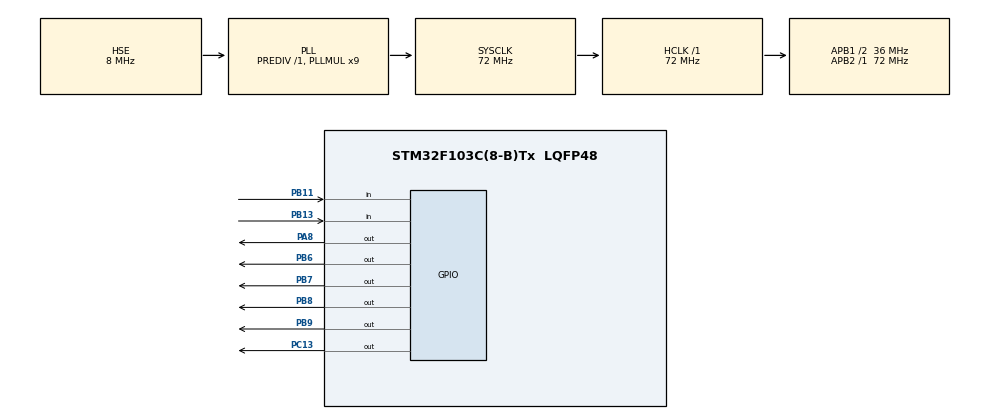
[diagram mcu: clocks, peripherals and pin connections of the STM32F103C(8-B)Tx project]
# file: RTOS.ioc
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FREERTOS.Tasks01=defaultTask,24,128,StartDefaultTask,Default,NULL,Dynamic,NULL,NULL
Mcu.Family=STM32F1
Mcu.Name=STM32F103C(8-B)Tx
Mcu.Package=LQFP48
NVIC.PriorityGroup=NVIC_PRIORITYGROUP_4
NVIC.TIM4_IRQn=true\:15\:0\:false\:false\:true\:false\:false\:true\:true
NVIC.TimeBase=TIM4_IRQn
NVIC.TimeBaseIP=TIM4
PA10.Signal=USART1_RX
PA13.Mode=Serial_Wire
PA13.Signal=SYS_JTMS-SWDIO
PA14.Mode=Serial_Wire
PA14.Signal=SYS_JTCK-SWCLK
PA8.PinState=GPIO_PIN_SET
PA8.Signal=GPIO_Output
PA9.Signal=USART1_TX
PB11.Signal=GPIO_Input
PB13.Signal=GPIO_Input
PB6.GPIO_ModeDefaultOutputPP=GPIO_MODE_OUTPUT_OD
PB6.GPIO_PuPd=GPIO_NOPULL
PB6.GPIO_Speed=GPIO_SPEED_FREQ_MEDIUM
PB6.Signal=GPIO_Output
PB7.GPIO_ModeDefaultOutputPP=GPIO_MODE_OUTPUT_OD
PB7.GPIO_PuPd=GPIO_NOPULL
PB7.GPIO_Speed=GPIO_SPEED_FREQ_MEDIUM
PB7.PinState=GPIO_PIN_RESET
PB7.Signal=GPIO_Output
PB8.Signal=GPIO_Output
PB9.Signal=GPIO_Output
PC13-TAMPER-RTC.Signal=GPIO_Output
PD0-OSC_IN.Mode=HSE-External-Oscillator
PD0-OSC_IN.Signal=RCC_OSC_IN
PD1-OSC_OUT.Mode=HSE-External-Oscillator
PD1-OSC_OUT.Signal=RCC_OSC_OUT
ProjectManager.HeapSize=0x200
ProjectManager.StackSize=0x400
ProjectManager.TargetToolchain=MDK-ARM V5.32
RCC.AHBFreq_Value=72000000
RCC.APB1CLKDivider=RCC_HCLK_DIV2
RCC.APB1Freq_Value=36000000
RCC.APB1TimFreq_Value=72000000
RCC.APB2Freq_Value=72000000
RCC.APB2TimFreq_Value=72000000
RCC.HCLKFreq_Value=72000000
RCC.PLLMUL=RCC_PLL_MUL9
RCC.PLLSourceVirtual=RCC_PLLSOURCE_HSE
RCC.SYSCLKFreq_VALUE=72000000
RCC.SYSCLKSource=RCC_SYSCLKSOURCE_PLLCLK
RCC.USBFreq_Value=72000000
VP_FREERTOS_VS_CMSIS_V2.Mode=CMSIS_V2
VP_SYS_VS_tim4.Mode=TIM4
board=custom

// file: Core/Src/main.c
/* USER CODE BEGIN Header */
/**
  ******************************************************************************
  * @file           : main.c
  * @brief          : Main program body
  ******************************************************************************
  * @attention
  *
  * Copyright (c) 2025 STMicroelectronics.
  * All rights reserved.
  *
  * This software is licensed under terms that can be found in the LICENSE file
  * in the root directory of this software component.
  * If no LICENSE file comes with this software, it is provided AS-IS.
  *
  ******************************************************************************
  */
/* USER CODE END Header */
#include "main.h"
#include "cmsis_os.h"
#include "gpio.h"

/* USER CODE BEGIN Includes */
#include "OLED.h"
/* USER CODE END Includes */

void SystemClock_Config(void);
void MX_FREERTOS_Init(void);

int main(void)
{

  /* MCU Configuration--------------------------------------------------------*/

  /* Reset of all peripherals, Initializes the Flash interface and the Systick. */
  HAL_Init();

  /* USER CODE BEGIN Init */
  OLED_Init();
  /* USER CODE END Init */

  /* Configure the system clock */
  SystemClock_Config();

  /* Initialize all configured peripherals */
  MX_GPIO_Init();

  /* Init scheduler */
  osKernelInitialize();  /* Call init function for freertos objects (in cmsis_os2.c) */
  MX_FREERTOS_Init();

  /* Start scheduler */
  osKernelStart();

  /* We should never get here as control is now taken by the scheduler */

  /* Infinite loop */
  while (1)
  {

  }
}

void SystemClock_Config(void)
{
  RCC_OscInitTypeDef RCC_OscInitStruct = {0};
  RCC_ClkInitTypeDef RCC_ClkInitStruct = {0};

  /** Initializes the RCC Oscillators according to the specified parameters
  * in the RCC_OscInitTypeDef structure.
  */
  RCC_OscInitStruct.OscillatorType = RCC_OSCILLATORTYPE_HSE;
  RCC_OscInitStruct.HSEState = RCC_HSE_ON;
  RCC_OscInitStruct.HSEPredivValue = RCC_HSE_PREDIV_DIV1;
  RCC_OscInitStruct.HSIState = RCC_HSI_ON;
  RCC_OscInitStruct.PLL.PLLState = RCC_PLL_ON;
  RCC_OscInitStruct.PLL.PLLSource = RCC_PLLSOURCE_HSE;
  RCC_OscInitStruct.PLL.PLLMUL = RCC_PLL_MUL9;
  if (HAL_RCC_OscConfig(&RCC_OscInitStruct) != HAL_OK)
  {
    Error_Handler();
  }

  /** Initializes the CPU, AHB and APB buses clocks
  */
  RCC_ClkInitStruct.ClockType = RCC_CLOCKTYPE_HCLK|RCC_CLOCKTYPE_SYSCLK
                              |RCC_CLOCKTYPE_PCLK1|RCC_CLOCKTYPE_PCLK2;
  RCC_ClkInitStruct.SYSCLKSource = RCC_SYSCLKSOURCE_PLLCLK;
  RCC_ClkInitStruct.AHBCLKDivider = RCC_SYSCLK_DIV1;
  RCC_ClkInitStruct.APB1CLKDivider = RCC_HCLK_DIV2;
  RCC_ClkInitStruct.APB2CLKDivider = RCC_HCLK_DIV1;

  if (HAL_RCC_ClockConfig(&RCC_ClkInitStruct, FLASH_LATENCY_2) != HAL_OK)
  {
    Error_Handler();
  }
}

void HAL_TIM_PeriodElapsedCallback(TIM_HandleTypeDef *htim)
{
  if (htim->Instance == TIM4)
  {
    HAL_IncTick();
  }
}

void Error_Handler(void)
{
  __disable_irq();
  while (1)
  {
  }
}

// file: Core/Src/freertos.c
/* USER CODE BEGIN Header */
/**
  ******************************************************************************
  * File Name          : freertos.c
  * Description        : Code for freertos applications
  ******************************************************************************
  * @attention
  *
  * Copyright (c) 2025 STMicroelectronics.
  * All rights reserved.
  *
  * This software is licensed under terms that can be found in the LICENSE file
  * in the root directory of this software component.
  * If no LICENSE file comes with this software, it is provided AS-IS.
  *
  ******************************************************************************
  */
/* USER CODE END Header */

#include "FreeRTOS.h"
#include "task.h"
#include "main.h"
#include "cmsis_os.h"

/* USER CODE BEGIN Includes */
#include "Led.h"
#include "buzzer.h"
#include "Red_Avoid.h"
#include "Light_Sensor.h"
#include "OLED.h"
/* USER CODE END Includes */

/* USER CODE BEGIN Variables */
int buzzer_count = 0;
 int led_count = 0;
/* USER CODE END Variables */
/* Definitions for defaultTask */
osThreadId_t defaultTaskHandle;
const osThreadAttr_t defaultTask_attributes = {
  .name = "defaultTask",
  .stack_size = 128 * 4,
  .priority = (osPriority_t) osPriorityNormal,
};

/* USER CODE BEGIN FunctionPrototypes */
osThreadId_t OLED_ShowTaskHandle;
const osThreadAttr_t OLED_ShowTask_attributes = {
  .name = "OLED_ShowTask",
  .stack_size = 128 * 4,
  .priority = (osPriority_t) osPriorityNormal,
};
void OLED_ShowTask(void *argument);
osThreadId_t Buzzer_TaskHandle;
const osThreadAttr_t buzzerTask_attributes = {
  .name = "buzzerTask",
  .stack_size = 128 * 4,
  .priority = (osPriority_t) osPriorityNormal,
};
void buzzerTask(void *argument);
/* USER CODE END FunctionPrototypes */

void StartDefaultTask(void *argument);

void MX_FREERTOS_Init(void); /* (MISRA C 2004 rule 8.1) */

void MX_FREERTOS_Init(void) {

  /* Create the thread(s) */
  /* creation of defaultTask */
  defaultTaskHandle = osThreadNew(StartDefaultTask, NULL, &defaultTask_attributes);

  /* USER CODE BEGIN RTOS_THREADS */
  /* add threads, ... */
  OLED_ShowTaskHandle = osThreadNew(OLED_ShowTask, NULL, &OLED_ShowTask_attributes);
  Buzzer_TaskHandle = osThreadNew(buzzerTask, NULL, &buzzerTask_attributes);
  /* USER CODE END RTOS_THREADS */

}

void StartDefaultTask(void *argument)
{
  /* USER CODE BEGIN StartDefaultTask */
  /* Infinite loop */
  // HAL_GPIO_WritePin(GPIOA, GPIO_PIN_8, GPIO_PIN_SET); // Add this line
  for(;;)
  {
     led_test(); // 移除 led_test() 调用
      led_count++;
      if(led_count >= 10000) // 假设我们想让计数在10000后重置
      {
          led_count = 0;
      }
    osDelay(1); // 避免空循环占用CPU
  }
  /* USER CODE END StartDefaultTask */
}

/* USER CODE BEGIN Application */
void OLED_ShowTask(void *argument)
{
  /* USER CODE BEGIN OLED_ShowTask */
  /* Infinite loop */
  // int count = 0; // 将 count 变量的声明和初始化移到循环外面
  for(;;)
  {
    OLED_ShowString(1, 1, "Hello, World!");
    OLED_ShowString(2, 1, "Li:");
    OLED_ShowString(3, 1, "Ra:");
    OLED_ShowNum(2, 4, Light_Sensor_dectect(), 1);
    OLED_ShowNum(3, 4, Red_Avoid_dectect(), 1);
    OLED_ShowNum(4, 1, buzzer_count, 4); // 直接显示 buzzer_count 的值
    OLED_ShowNum(4, 10, led_count, 4);
    // count++; // 每次循环递增 count
    osDelay(10); // 添加延时，以便观察计数变化
  }
  /* USER CODE END OLED_ShowTask */
}
void buzzerTask(void *argument)
{
  /* USER CODE BEGIN buzzerTask */
  /* Infinite loop */
  for(;;)
  {
    buzzer_test();
    buzzer_count++; // 每次蜂鸣器测试后递增计数
    led_on(); // 点亮LED
    osDelay(50); // 延时50ms
    led_off(); // 熄灭LED
    osDelay(10000 - 50); // 调整延时，使总周期保持5秒
  }
  /* USER CODE END buzzerTask */
}
/* USER CODE END Application */
